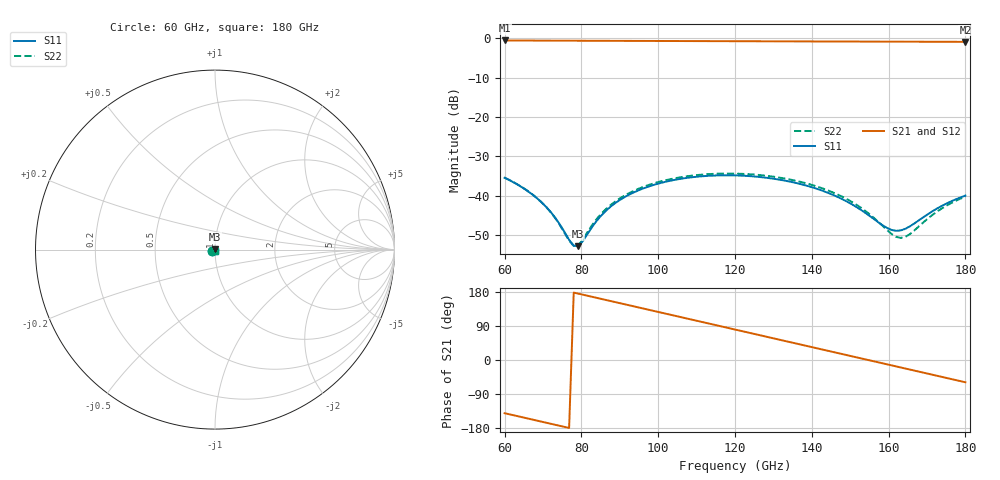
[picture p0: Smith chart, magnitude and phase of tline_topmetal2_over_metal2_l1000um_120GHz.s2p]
#  GHZ S DB R 50
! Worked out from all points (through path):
!   101 points, 60 GHz to 180 GHz, reference 50 ohm
!   highest |S21| = -0.58 dB at 60 GHz (marker M1); lowest = -0.9 dB at 180 GHz (marker M2)
!   group delay of S21, straight-line fit = 6.44 ps
!   lowest |S11| = -52.9 dB at 79.2 GHz (marker M3), VSWR 1.00, Z = 50.1 + j0.19 ohm
!   |S11| at or under -10 dB: start of sweep to end of sweep
!   |S22| runs from -52.8 to -34.4 dB; largest |S21 - S12| = 1.6e-13
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60  -35.49 -157.3  -0.58 -140.4  -0.58 -140.4  -35.44 -157.2
64.8  -38.07 -173.2  -0.60 -151.5  -0.60 -151.5  -38.03 -173.0
69.6  -41.69 168.1  -0.61 -162.7  -0.61 -162.7  -41.70 168.3
73.2  -45.66 148.6  -0.63 -171.0  -0.63 -171.0  -45.76 148.4
76.8  -51.25 109.4  -0.64 -179.4  -0.64 -179.4  -51.46 107.1
78  -52.74 85.1  -0.64 177.9  -0.64 177.9  -52.81 81.3
79.2  -52.86 56.6  -0.65 175.1  -0.65 175.1  -52.63 52.5
80.4  -51.56 31.9  -0.65 172.3  -0.65 172.3  -51.13 28.8
84  -46.39 -8.0  -0.66 163.9  -0.66 163.9  -45.92 -8.8
88.8  -41.93 -32.9  -0.68 152.8  -0.68 152.8  -41.51 -32.9
93.6  -39.21 -50.6  -0.69 141.7  -0.69 141.7  -38.81 -50.3
100.8  -36.76 -73.6  -0.71 125.0  -0.71 125.0  -36.36 -73.0
110.4  -35.18 -102.3  -0.74 102.7  -0.74 102.7  -34.76 -101.2
120  -34.88 -130.5  -0.77 80.4  -0.77 80.4  -34.42 -128.8
129.6  -35.66 -159.0  -0.80 58.2  -0.80 58.2  -35.15 -156.6
140.4  -37.99 166.7  -0.83 33.1  -0.83 33.1  -37.41 170.7
151.2  -42.66 124.3  -0.86 8.1  -0.86 8.1  -42.06 132.1
160.8  -48.74 49.6  -0.88 -14.2  -0.88 -14.2  -49.77 64.4
163.2  -48.84 20.6  -0.89 -19.8  -0.89 -19.8  -50.76 30.7
164.4  -48.42 6.8  -0.89 -22.6  -0.89 -22.6  -50.48 13.3
172.8  -43.20 -55.4  -0.91 -42.1  -0.91 -42.1  -43.96 -57.8
180  -40.01 -85.6  -0.93 -58.8  -0.93 -58.8  -40.26 -87.3
